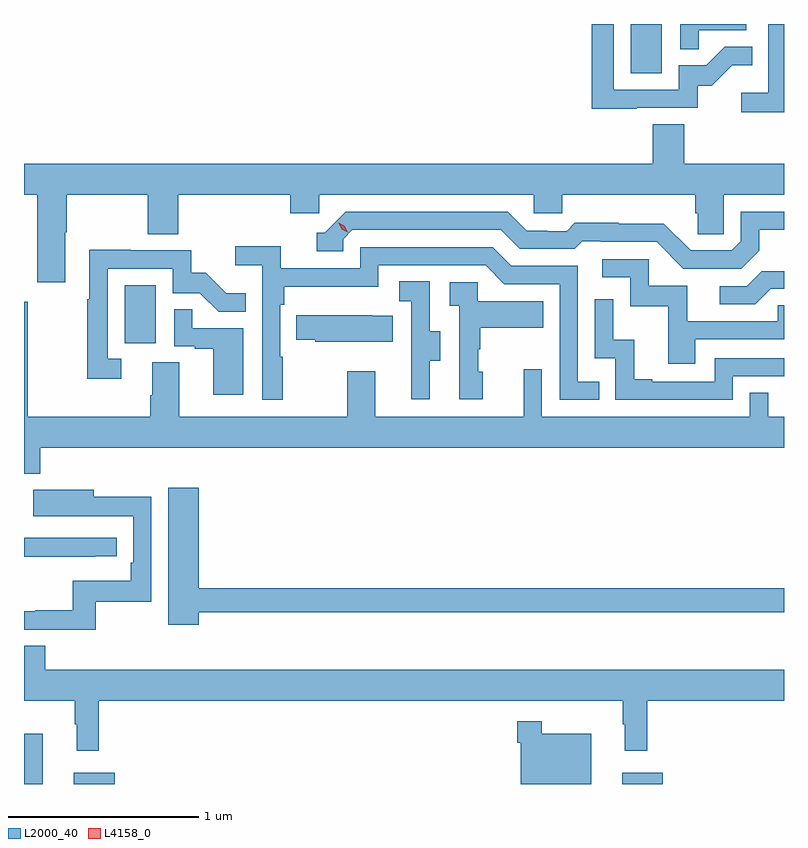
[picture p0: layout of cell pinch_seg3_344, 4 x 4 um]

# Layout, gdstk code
import gdstk
lib = gdstk.Library(unit=1e-6, precision=1e-09)
def R(c, l, rs):  # rectangles x0, y0, x1, y1
    for r in rs: c.add(gdstk.rectangle(r[:2], r[2:], *l))
def P(c, l, *ps):  # polygons
    for p in ps: c.add(gdstk.Polygon(p, *l))
L2000_40 = (2000, 40)
L4158_0 = (4158, 0)

pinch_seg3_344 = lib.new_cell('pinch_seg3_344')
R(pinch_seg3_344, L2000_40, [(961.771,724.455,961.87,724.72), (962.033,724.455,962.248,724.513), (964.919,724.455,965.134,724.513), (962.3,726.774,962.464,727.081), (964.964,728.196,965.128,728.455)])
P(pinch_seg3_344, L2000_40, [(965.321,728.421),(965.572,728.421),(965.572,728.455),(965.226,728.455),(965.226,728.323),(965.321,728.323)],
  [(964.997,728.013),(965.316,728.013),(965.316,728.13),(965.392,728.13),(965.499,728.237),(965.603,728.237),(965.603,728.336),(965.46,728.336),(965.362,728.238),(965.217,728.238),(965.217,728.109),(964.875,728.109),(964.875,728.455),(964.759,728.455),(964.759,728.008),(964.997,728.008)],
  [(965.771,728.455),(965.688,728.455),(965.688,728.092),(965.547,728.092),(965.547,727.99),(965.771,727.99)],
  [(961.987,727.36),(961.995,727.36),(961.995,727.556),(962.422,727.556),(962.422,727.348),(962.582,727.348),(962.582,727.556),(963.173,727.556),(963.173,727.458),(963.324,727.458),(963.324,727.556),(964.455,727.556),(964.455,727.458),(964.605,727.458),(964.605,727.556),(965.303,727.556),(965.303,727.458),(965.317,727.458),(965.317,727.348),(965.454,727.348),(965.454,727.556),(965.771,727.556),(965.771,727.72),(965.246,727.72),(965.246,727.928),(965.081,727.928),(965.081,727.72),(961.771,727.72),(961.771,727.556),(961.84,727.556),(961.84,727.095),(961.987,727.095)],
  [(965.641,727.261),(965.641,727.371),(965.771,727.371),(965.771,727.467),(965.544,727.467),(965.544,727.311),(965.496,727.263),(965.28,727.263),(965.138,727.405),(964.902,727.405),(964.902,727.408),(964.669,727.408),(964.627,727.365),(964.524,727.365),(964.524,727.368),(964.417,727.368),(964.318,727.467),(963.465,727.467),(963.354,727.356),(963.311,727.356),(963.311,727.26),(963.45,727.26),(963.45,727.323),(963.498,727.371),(964.281,727.371),(964.38,727.272),(964.669,727.272),(964.708,727.311),(964.807,727.311),(964.807,727.308),(965.1,727.308),(965.241,727.167),(965.547,727.167)],
  [(963.133,726.704),(963.12,726.704),(963.12,726.977),(963.14,726.977),(963.14,727.073),(963.636,727.073),(963.636,727.185),(964.2,727.185),(964.299,727.086),(964.59,727.086),(964.59,726.477),(964.799,726.477),(964.799,726.573),(964.686,726.573),(964.686,727.182),(964.336,727.182),(964.237,727.281),(963.54,727.281),(963.54,727.17),(963.122,727.17),(963.122,727.286),(962.883,727.286),(962.883,727.184),(963.024,727.184),(963.024,726.477),(963.133,726.477)],
  [(962.284,726.693),(962.211,726.693),(962.211,727.167),(962.553,727.167),(962.553,727.038),(962.697,727.038),(962.795,726.94),(962.939,726.94),(962.939,727.039),(962.835,727.039),(962.728,727.146),(962.652,727.146),(962.652,727.263),(962.333,727.263),(962.333,727.268),(962.115,727.268),(962.115,727.007),(962.103,727.007),(962.103,726.588),(962.284,726.588)],
  [(965.305,726.795),(965.771,726.795),(965.771,726.975),(965.737,726.975),(965.737,726.891),(965.263,726.891),(965.263,727.077),(965.058,727.077),(965.058,727.218),(964.815,727.218),(964.815,727.122),(964.962,727.122),(964.962,726.969),(965.161,726.969),(965.161,726.666),(965.305,726.666)],
  [(965.701,727.062),(965.771,727.062),(965.771,727.154),(965.654,727.154),(965.574,727.074),(965.433,727.074),(965.433,726.981),(965.62,726.981)],
  [(963.907,726.682),(963.961,726.682),(963.961,726.837),(963.906,726.837),(963.906,727.1),(963.747,727.1),(963.747,726.997),(963.81,726.997),(963.81,726.693),(963.809,726.693),(963.809,726.48),(963.907,726.48)],
  [(964.186,726.624),(964.161,726.624),(964.161,726.743),(964.171,726.743),(964.171,726.857),(964.505,726.857),(964.505,726.997),(964.158,726.997),(964.158,727.095),(964.011,727.095),(964.011,726.971),(964.062,726.971),(964.062,726.48),(964.186,726.48)],
  [(965.502,726.6),(965.771,726.6),(965.771,726.696),(965.406,726.696),(965.406,726.573),(965.077,726.573),(965.077,726.586),(964.982,726.586),(964.982,726.794),(964.872,726.794),(964.872,727.006),(964.776,727.006),(964.776,726.696),(964.884,726.696),(964.884,726.477),(965.502,726.477)],
  [(961.856,726.224),(965.771,726.224),(965.771,726.388),(965.688,726.388),(965.688,726.515),(965.592,726.515),(965.592,726.388),(964.497,726.388),(964.497,726.637),(964.4,726.637),(964.4,726.388),(963.619,726.388),(963.619,726.628),(963.472,726.628),(963.472,726.388),(962.587,726.388),(962.587,726.674),(962.447,726.674),(962.447,726.5),(962.435,726.5),(962.435,726.388),(961.792,726.388),(961.792,726.994),(961.771,726.994),(961.771,726.089),(961.856,726.089)],
  [(962.926,726.855),(962.657,726.855),(962.657,726.953),(962.562,726.953),(962.562,726.759),(962.669,726.759),(962.669,726.747),(962.768,726.747),(962.768,726.504),(962.926,726.504)],
  [(963.713,726.919),(963.605,726.919),(963.605,726.922),(963.205,726.922),(963.205,726.793),(963.303,726.793),(963.303,726.782),(963.713,726.782)],
  [(962.692,725.358),(965.771,725.358),(965.771,725.486),(962.692,725.486),(962.692,726.013),(962.531,726.013),(962.531,725.292),(962.692,725.292)],
  [(962.149,725.415),(962.442,725.415),(962.442,725.966),(962.137,725.966),(962.137,726.004),(961.819,726.004),(961.819,725.864),(962.033,725.864),(962.033,725.865),(962.346,725.865),(962.346,725.62),(962.333,725.62),(962.333,725.524),(962.028,725.524),(962.028,725.369),(961.831,725.369),(961.831,725.364),(961.771,725.364),(961.771,725.268),(962.149,725.268)],
  [(962.147,725.655),(962.26,725.655),(962.26,725.751),(961.771,725.751),(961.771,725.65),(962.147,725.65)],
  [(962.165,724.892),(964.923,724.892),(964.923,724.769),(964.934,724.769),(964.934,724.629),(965.051,724.629),(965.051,724.892),(965.771,724.892),(965.771,725.056),(961.883,725.056),(961.883,725.183),(961.771,725.183),(961.771,724.892),(962.037,724.892),(962.037,724.769),(962.048,724.769),(962.048,724.629),(962.165,724.629)],
  [(964.756,724.72),(964.495,724.72),(964.495,724.786),(964.366,724.786),(964.366,724.673),(964.386,724.673),(964.386,724.455),(964.756,724.455)])
P(pinch_seg3_344, L4158_0, [(963.474,727.358),(963.443,727.376),(963.427,727.409),(963.427,727.409),(963.427,727.409),(963.458,727.39),(963.475,727.358),(963.475,727.358)])

lib.write_gds('pinch_seg3_344.gds')
